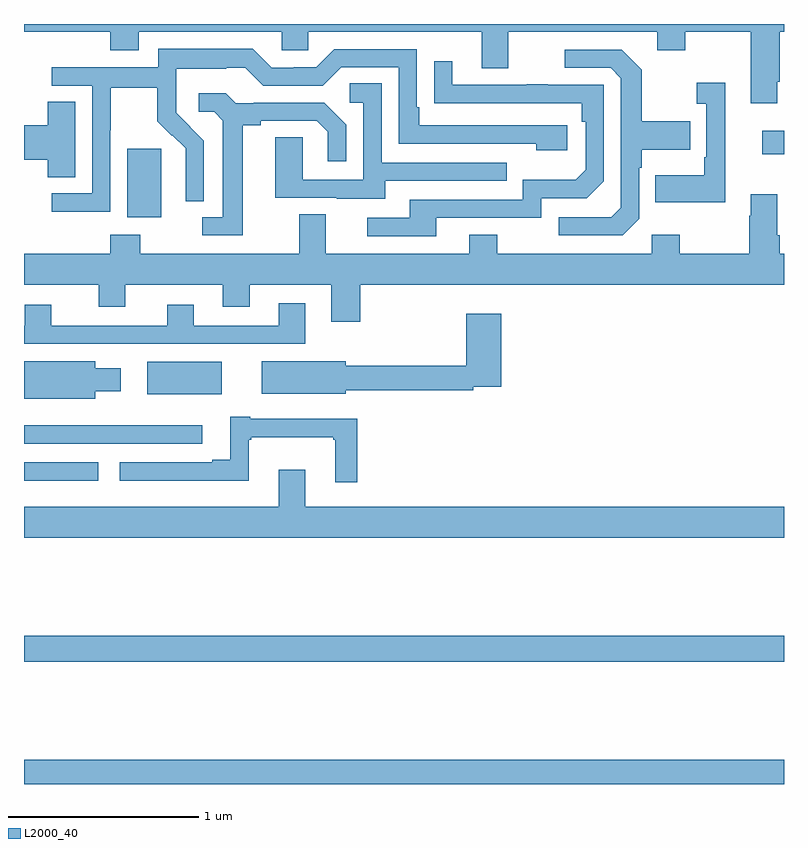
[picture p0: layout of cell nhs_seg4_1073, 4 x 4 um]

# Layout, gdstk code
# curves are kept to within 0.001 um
import gdstk
lib = gdstk.Library(unit=1e-6, precision=1e-09)
def R(c, l, rs):  # rectangles x0, y0, x1, y1
    for r in rs: c.add(gdstk.rectangle(r[:2], r[2:], *l))
def P(c, l, *ps):  # polygons
    for p in ps: c.add(gdstk.Polygon(p, *l))
L2000_40 = (2000, 40)

nhs_seg4_1073 = lib.new_cell('nhs_seg4_1073')
R(nhs_seg4_1073, L2000_40, [(167,752.9,171,753.028), (167,753.544,171,753.68), (167,754.496,167.392,754.593), (167,754.692,167.938,754.789), (167.648,754.952,168.04,755.122), (167.543,755.882,167.722,756.243), (170.886,756.215,171,756.337)])
P(nhs_seg4_1073, L2000_40, [(170.965,756.595),(170.978,756.595),(170.978,756.86),(171,756.86),(171,756.9),(167,756.9),(167,756.86),(167.453,756.86),(167.453,756.761),(167.605,756.761),(167.605,756.86),(168.357,756.86),(168.357,756.762),(168.495,756.762),(168.495,756.86),(169.409,756.86),(169.409,756.666),(169.549,756.666),(169.549,756.86),(170.333,756.86),(170.333,756.761),(170.481,756.761),(170.481,756.86),(170.825,756.86),(170.825,756.483),(170.965,756.483)],
  [(167.454,756.34),(167.457,756.34),(167.457,756.564),(167.701,756.564),(167.701,756.389),(167.778,756.312),(167.781,756.315),(167.852,756.245),(167.852,756.122),(167.85,756.122),(167.85,755.968),(167.946,755.968),(167.946,756.286),(167.8,756.434),(167.8,756.531),(167.802,756.531),(167.802,756.665),(168.065,756.665),(168.065,756.669),(168.165,756.669),(168.258,756.576),(168.573,756.576),(168.669,756.672),(168.972,756.672),(168.972,756.27),(169.697,756.27),(169.697,756.236),(169.858,756.236),(169.858,756.366),(169.081,756.366),(169.081,756.463),(169.068,756.463),(169.068,756.768),(168.633,756.768),(168.537,756.672),(168.419,756.672),(168.419,756.669),(168.303,756.669),(168.203,756.769),(167.706,756.769),(167.706,756.672),(167.145,756.672),(167.145,756.576),(167.358,756.576),(167.358,756.009),(167.145,756.009),(167.145,755.911),(167.454,755.911)],
  [(170.238,755.874),(170.238,756.143),(170.251,756.143),(170.251,756.239),(170.507,756.239),(170.507,756.387),(170.251,756.387),(170.251,756.659),(170.145,756.765),(169.845,756.765),(169.845,756.669),(170.088,756.669),(170.142,756.615),(170.142,755.934),(170.091,755.883),(169.815,755.883),(169.815,755.787),(170.151,755.787)],
  [(169.171,755.88),(169.722,755.88),(169.722,755.982),(169.962,755.982),(170.052,756.072),(170.052,756.579),(169.757,756.579),(169.757,756.584),(169.645,756.584),(169.645,756.579),(169.255,756.579),(169.255,756.703),(169.159,756.703),(169.159,756.484),(169.936,756.483),(169.936,756.386),(169.956,756.386),(169.956,756.132),(169.903,756.079),(169.626,756.079),(169.626,755.976),(169.031,755.976),(169.031,755.88),(168.807,755.88),(168.807,755.784),(169.171,755.784)],
  [(170.69,756.592),(170.541,756.592),(170.541,756.479),(170.592,756.479),(170.592,756.199),(170.58,756.199),(170.58,756.103),(170.323,756.103),(170.323,755.963),(170.69,755.963)],
  [(168.901,756.075),(169.541,756.075),(169.541,756.171),(168.882,756.171),(168.882,756.587),(168.714,756.587),(168.714,756.486),(168.786,756.486),(168.786,756.081),(168.468,756.081),(168.468,756.305),(168.323,756.305),(168.323,755.985),(168.647,755.985),(168.647,755.981),(168.901,755.981)],
  [(168.151,756.368),(168.247,756.368),(168.247,756.39),(168.542,756.39),(168.599,756.333),(168.599,756.177),(168.696,756.177),(168.696,756.37),(168.58,756.486),(168.208,756.486),(168.208,756.483),(168.114,756.483),(168.062,756.535),(167.919,756.535),(167.919,756.438),(168,756.438),(168.047,756.391),(168.047,755.883),(167.937,755.883),(167.937,755.787),(168.151,755.787)],
  [(167.269,756.491),(167.126,756.491),(167.126,756.368),(167,756.368),(167,756.185),(167.126,756.185),(167.126,756.094),(167.269,756.094)],
  [(168.77,755.528),(171,755.528),(171,755.692),(170.978,755.692),(170.978,755.788),(170.965,755.788),(170.965,756.004),(170.825,756.004),(170.825,755.891),(170.818,755.891),(170.818,755.692),(170.451,755.692),(170.451,755.791),(170.304,755.791),(170.304,755.692),(169.491,755.692),(169.491,755.791),(169.343,755.791),(169.343,755.692),(168.589,755.692),(168.589,755.9),(168.449,755.9),(168.449,755.692),(167.613,755.692),(167.613,755.791),(167.453,755.791),(167.453,755.692),(167,755.692),(167,755.528),(167.393,755.528),(167.393,755.411),(167.533,755.411),(167.533,755.528),(168.047,755.528),(168.047,755.411),(168.187,755.411),(168.187,755.528),(168.617,755.528),(168.617,755.334),(168.77,755.334)],
  [(168.481,755.431),(168.341,755.431),(168.341,755.313),(167.893,755.313),(167.893,755.422),(167.753,755.422),(167.753,755.313),(167.143,755.313),(167.143,755.422),(167.003,755.422),(167.003,755.313),(167,755.313),(167,755.217),(168.481,755.217)],
  [(168.694,754.972),(169.364,754.972),(169.364,754.992),(169.511,754.992),(169.511,755.374),(169.328,755.374),(169.328,755.101),(168.694,755.101),(168.694,755.125),(168.251,755.125),(168.251,754.955),(168.694,754.955)],
  [(167.374,754.967),(167.509,754.967),(167.509,755.089),(167.374,755.089),(167.374,755.125),(167,755.125),(167,754.928),(167.374,754.928)],
  [(168.755,754.822),(168.19,754.822),(168.19,754.834),(168.086,754.834),(168.086,754.606),(167.99,754.606),(167.99,754.593),(167.505,754.593),(167.505,754.496),(168.184,754.496),(168.184,754.713),(168.196,754.713),(168.196,754.724),(168.627,754.724),(168.627,754.713),(168.638,754.713),(168.638,754.488),(168.755,754.488)],
  [(171,754.36),(168.481,754.36),(168.481,754.555),(168.341,754.555),(168.341,754.36),(167,754.36),(167,754.196),(171,754.196)])

lib.write_gds('nhs_seg4_1073.gds')
